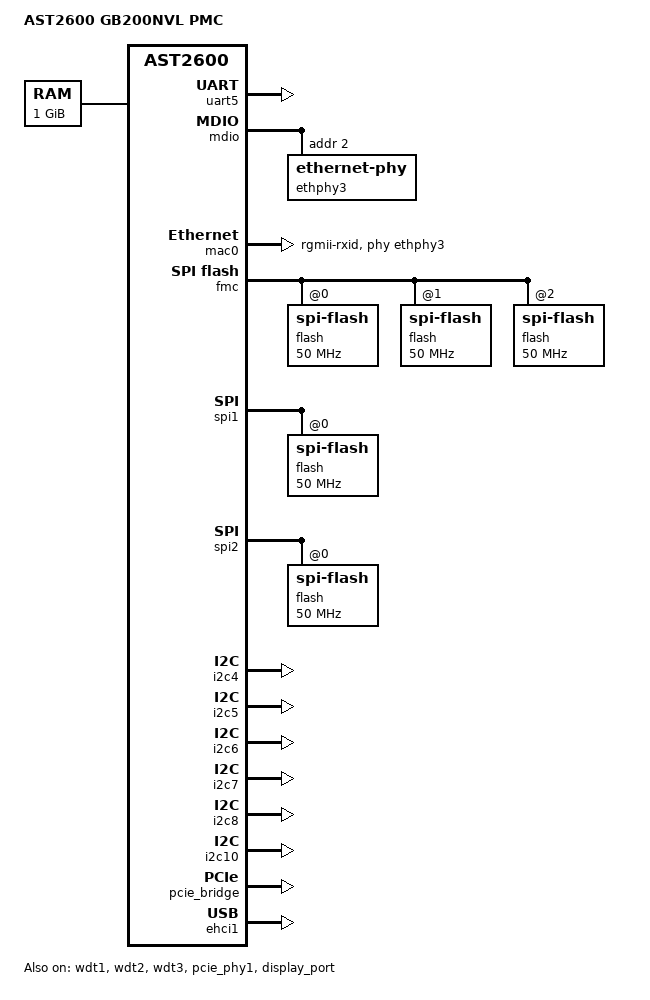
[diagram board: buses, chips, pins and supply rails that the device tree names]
/dts-v1/;

#include "ast2600-u-boot.dtsi"

/ {
        model = "AST2600 GB200NVL PMC";
        compatible = "aspeed,ast2600-evb", "aspeed,ast2600";

	memory {
		device_type = "memory";
		reg = <0x80000000 0x40000000>;
	};

	chosen {
		stdout-path = &uart5;
	};

	aliases {
		mmc0 = &emmc_slot0;
		mmc1 = &sdhci_slot0;
		mmc2 = &sdhci_slot1;
		spi0 = &fmc;
		spi1 = &spi1;
		spi2 = &spi2;
		ethernet0 = &mac0;
		ethernet1 = &mac1;
		ethernet2 = &mac2;
		ethernet3 = &mac3;
	};

	cpus {
		cpu@0 {
			clock-frequency = <800000000>;
		};
		cpu@1 {
			clock-frequency = <800000000>;
		};
	};
};

&uart5 {
	u-boot,dm-pre-reloc;
	status = "okay";
};

&sdrammc {
	clock-frequency = <400000000>;
	aspeed,ecc-enabled;
	aspeed,ecc-size-mb = <0>;
};

&wdt1 {
	status = "okay";
};

&wdt2 {
	status = "okay";
};

&wdt3 {
	status = "okay";
};

&mdio {
	status = "okay";
	pinctrl-names = "default";
	pinctrl-0 = < &pinctrl_mdio4_default>;
	#address-cells = <1>;
	#size-cells = <0>;
	ethphy3: ethernet-phy@2 {
		reg = <2>;
	};
};


&mac0 {
	status = "okay";
	reg = <0x1e660000 0x180>, <0x1e650018 0x4>;
	phy-mode = "rgmii-rxid";
	phy-handle = <&ethphy3>;
	pinctrl-names = "default";
	pinctrl-0 = <&pinctrl_rgmii1_default>;
};

&fmc {
	status = "okay";

	pinctrl-names = "default";
	pinctrl-0 = <&pinctrl_fmcquad_default>;

	flash@0 {
		compatible = "spi-flash", "sst,w25q256";
		status = "okay";
		spi-max-frequency = <50000000>;
		spi-tx-bus-width = <4>;
		spi-rx-bus-width = <4>;
	};

	flash@1 {
		compatible = "spi-flash", "sst,w25q256";
		status = "okay";
		spi-max-frequency = <50000000>;
		spi-tx-bus-width = <4>;
		spi-rx-bus-width = <4>;
	};

	flash@2 {
		compatible = "spi-flash", "sst,w25q256";
		status = "okay";
		spi-max-frequency = <50000000>;
		spi-tx-bus-width = <4>;
		spi-rx-bus-width = <4>;
	};
};

&spi1 {
	status = "okay";
    num-cs = <1>;
	pinctrl-names = "default";
	pinctrl-0 = <&pinctrl_spi1_default &pinctrl_spi1abr_default
			&pinctrl_spi1cs1_default &pinctrl_spi1wp_default
			&pinctrl_spi1wp_default &pinctrl_spi1quad_default>;

	flash@0 {
		compatible = "spi-flash", "sst,w25q256";
		status = "okay";
		spi-max-frequency = <50000000>;
		spi-tx-bus-width = <4>;
		spi-rx-bus-width = <4>;
	};

	flash@1 {
		compatible = "spi-flash", "sst,w25q256";
		status = "disabled";
		spi-max-frequency = <50000000>;
		spi-tx-bus-width = <4>;
		spi-rx-bus-width = <4>;
	};
};

&spi2 {
	status = "okay";

	pinctrl-names = "default";
	pinctrl-0 = <&pinctrl_spi2_default &pinctrl_spi2cs1_default
			&pinctrl_spi2cs2_default &pinctrl_spi2quad_default>;
    num-cs = <1>;
	flash@0 {
		compatible = "spi-flash", "sst,w25q256";
		status = "okay";
		spi-max-frequency = <50000000>;
		spi-tx-bus-width = <4>;
		spi-rx-bus-width = <4>;
	};

};

&i2c4 {
	status = "okay";

	pinctrl-names = "default";
	pinctrl-0 = <&pinctrl_i2c5_default>;
};

&i2c5 {
	status = "okay";

	pinctrl-names = "default";
	pinctrl-0 = <&pinctrl_i2c6_default>;
};

&i2c6 {
	status = "okay";

	pinctrl-names = "default";
	pinctrl-0 = <&pinctrl_i2c7_default>;
};

&i2c7 {
	status = "okay";

	pinctrl-names = "default";
	pinctrl-0 = <&pinctrl_i2c8_default>;
};

&i2c8 {
	status = "okay";

	pinctrl-names = "default";
	pinctrl-0 = <&pinctrl_i2c9_default>;
};

&i2c10 {
	status = "okay";

	pinctrl-names = "default";
	pinctrl-0 = <&pinctrl_i2c11_default>;
};

&pcie_phy1 {
	status = "okay";
};

&pcie_bridge {
	status = "okay";
};

#if 0
&h2x {
	status = "okay";
};
#endif

&ehci1 {
	status = "okay";
};

&scu {
	mac0-clk-delay = <0x10 0x0a
			  0x10 0x10
			  0x10 0x10>;
	mac1-clk-delay = <0x10 0x0a
			  0x10 0x10
			  0x10 0x10>;
	mac2-clk-delay = <0x08 0x04
			  0x08 0x04
			  0x08 0x04>;
	mac3-clk-delay = <0x08 0x04
			  0x08 0x04
			  0x08 0x04>;
};

&display_port {
	status = "okay";
};
